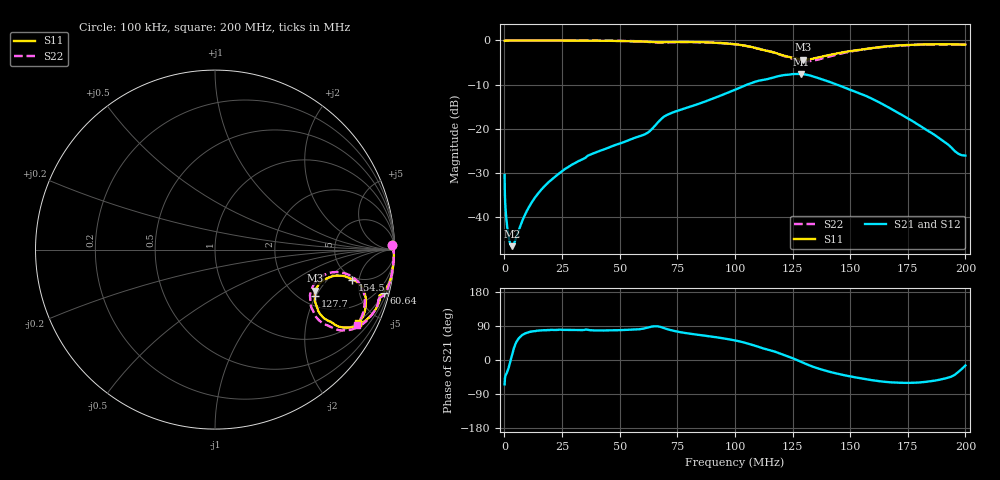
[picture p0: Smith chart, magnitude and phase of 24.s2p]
#  HZ  S  RI  R  50.00
! Rohde & Schwarz Vector Network Analyzer
! Rohde-Schwarz,ZNLE6-2Port,1323001256200024,1.71.1.10-23.02.1.238
! Created: UTC 4/7/2025, 6:34:20 AM
! freq[Hz]  re:S11  im:S11  re:S21  im:S21  re:S12  im:S12  re:S22  im:S22
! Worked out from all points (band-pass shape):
!   1001 points, 100 kHz to 200 MHz, reference 50 ohm
!   highest |S21| = -7.58 dB at 128.7 MHz (marker M1); lowest = -46.5 dB at 3.35 MHz (marker M2)
!   |S21| within 3 dB of the highest: 102.6 MHz to 147.1 MHz (44.53 MHz wide, 35.7 % of centre)
!   lowest |S11| = -4.4 dB at 129.7 MHz (marker M3), VSWR 4.05, Z = 129 - j92.8 ohm
!   |S11| at or under -10 dB: nowhere
!   |S22| runs from -4.7 to 0.0 dB; largest |S21 - S12| = 0.011
!   S11 on the Smith chart (normalised r, x): 100 kHz: 28, +61; 60.64 MHz: 0.95, -7.75; 127.7 MHz: 2.35, -1.96; 154.5 MHz: 4.66, -4.02; 200 MHz: 0.94, -3.91
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100000  0.9871 0.0268  0.0131 -0.0271  0.0132 -0.0272  0.9871 0.0268
355854.1  0.9894 0.0092  0.0105 -0.0101  0.0106 -0.0102  0.9897 0.00919
1266322  0.9934 0.000748  0.00656 -0.00391  0.00658 -0.00392  0.9935 0.000541
2397897  0.9949 -0.0052  0.00512 -0.000794  0.00513 -0.000789  0.9948 -0.00529
3350240  0.9952 -0.00984  0.00458 0.00119  0.00459 0.00113  0.9959 -0.00956
4472136  0.9956 -0.0144  0.0042 0.00318  0.00423 0.00311  0.9964 -0.0143
1.591428e7  0.9947 -0.0599  0.00426 0.02  0.00446 0.0199  0.995 -0.0617
3.616581e7  0.9831 -0.1411  0.00908 0.049  0.0104 0.0485  0.9833 -0.1435
5.663162e7  0.9478 -0.2247  0.013 0.0784  0.0152 0.0776  0.9497 -0.2405
6.064127e7  0.9388 -0.2426  0.0101 0.0856  0.011 0.0853  0.9323 -0.2602
7.059743e7  0.9183 -0.2613  0.0214 0.1423  0.0261 0.1412  0.9092 -0.2676
8.602321e7  0.8885 -0.3425  0.084 0.1803  0.09 0.1782  0.8804 -0.3545
9.641201e7  0.8315 -0.4003  0.1425 0.209  0.149 0.2059  0.822 -0.4152
1.048196e8  0.7488 -0.4342  0.2226 0.2202  0.2282 0.2159  0.7393 -0.4487
1.165888e8  0.6213 -0.3907  0.348 0.1512  0.3528 0.1437  0.6058 -0.4124
1.27723e8  0.5558 -0.2603  0.4169 -0.0146  0.4097 -0.0198  0.5303 -0.2715
1.286975e8  0.5559 -0.2451  0.4164 -0.0336  0.4094 -0.0374  0.5291 -0.2548
1.296795e8  0.5592 -0.229  0.4122 -0.0534  0.4054 -0.0558  0.5322 -0.2372
1.409882e8  0.6678 -0.1455  0.2915 -0.1751  0.2874 -0.1801  0.6439 -0.1283
1.544525e8  0.7651 -0.1666  0.1669 -0.1851  0.1609 -0.1872  0.7657 -0.1528
1.731053e8  0.8395 -0.2698  0.0697 -0.122  0.0647 -0.1242  0.834 -0.2685
2e8  0.7957 -0.4103  0.0484 -0.0124  0.0482 -0.015  0.7898 -0.4207
